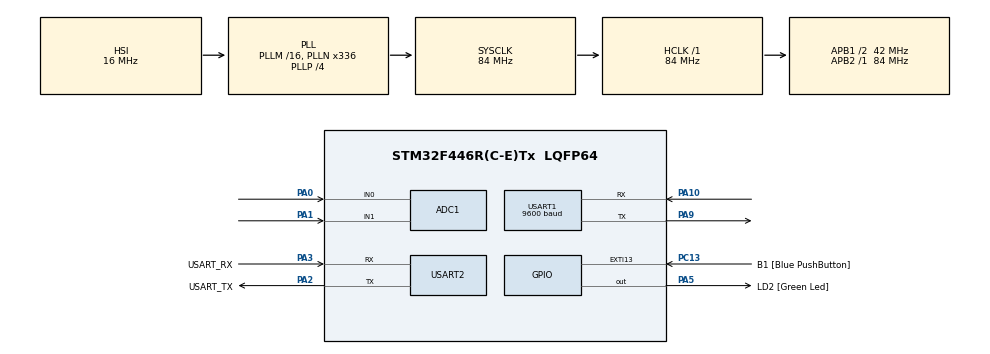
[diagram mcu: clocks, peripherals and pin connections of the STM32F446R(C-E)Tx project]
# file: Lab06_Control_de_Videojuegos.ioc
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ADC1.Channel-0\#ChannelRegularConversion=ADC_CHANNEL_0
ADC1.Channel-1\#ChannelRegularConversion=ADC_CHANNEL_1
ADC1.ClockPrescaler=ADC_CLOCK_SYNC_PCLK_DIV8
ADC1.DataAlign=ADC_DATAALIGN_RIGHT
ADC1.EOCSelection=ADC_EOC_SEQ_CONV
ADC1.NbrOfConversion=2
ADC1.NbrOfConversionFlag=1
ADC1.Rank-0\#ChannelRegularConversion=1
ADC1.Rank-1\#ChannelRegularConversion=2
ADC1.SamplingTime-0\#ChannelRegularConversion=ADC_SAMPLETIME_56CYCLES
ADC1.SamplingTime-1\#ChannelRegularConversion=ADC_SAMPLETIME_56CYCLES
ADC1.master=1
Dma.ADC1.0.Direction=DMA_PERIPH_TO_MEMORY
Dma.ADC1.0.FIFOMode=DMA_FIFOMODE_DISABLE
Dma.ADC1.0.Instance=DMA2_Stream0
Dma.ADC1.0.MemDataAlignment=DMA_MDATAALIGN_HALFWORD
Dma.ADC1.0.MemInc=DMA_MINC_ENABLE
Dma.ADC1.0.Mode=DMA_NORMAL
Dma.ADC1.0.PeriphDataAlignment=DMA_PDATAALIGN_HALFWORD
Dma.ADC1.0.PeriphInc=DMA_PINC_DISABLE
Dma.ADC1.0.Priority=DMA_PRIORITY_LOW
Dma.Request0=ADC1
Mcu.Family=STM32F4
Mcu.Name=STM32F446R(C-E)Tx
Mcu.Package=LQFP64
NVIC.DMA2_Stream0_IRQn=true\:0\:0\:false\:false\:true\:false\:true\:true
NVIC.PriorityGroup=NVIC_PRIORITYGROUP_0
NVIC.TIM6_DAC_IRQn=true\:0\:0\:false\:false\:true\:true\:true\:true
NVIC.USART1_IRQn=true\:0\:0\:false\:false\:true\:true\:true\:true
NVIC.USART2_IRQn=true\:0\:0\:false\:false\:true\:true\:true\:true
PA0-WKUP.Signal=ADCx_IN0
PA1.Signal=ADCx_IN1
PA10.Mode=Asynchronous
PA10.Signal=USART1_RX
PA13.GPIO_Label=TMS
PA13.Mode=Serial_Wire
PA13.Signal=SYS_JTMS-SWDIO
PA14.GPIO_Label=TCK
PA14.Mode=Serial_Wire
PA14.Signal=SYS_JTCK-SWCLK
PA2.GPIO_Label=USART_TX
PA2.Mode=Asynchronous
PA2.Signal=USART2_TX
PA3.GPIO_Label=USART_RX
PA3.Mode=Asynchronous
PA3.Signal=USART2_RX
PA5.GPIO_Label=LD2 [Green Led]
PA5.Signal=GPIO_Output
PA9.Mode=Asynchronous
PA9.Signal=USART1_TX
PB3.GPIO_Label=SWO
PB3.Signal=SYS_JTDO-SWO
PC13.GPIO_Label=B1 [Blue PushButton]
PC13.GPIO_ModeDefaultEXTI=GPIO_MODE_IT_FALLING
PC13.Signal=GPXTI13
PC14-OSC32_IN.Mode=LSE-External-Oscillator
PC14-OSC32_IN.Signal=RCC_OSC32_IN
PC15-OSC32_OUT.Mode=LSE-External-Oscillator
PC15-OSC32_OUT.Signal=RCC_OSC32_OUT
PH0-OSC_IN.Mode=HSE-External-Oscillator
PH0-OSC_IN.Signal=RCC_OSC_IN
PH1-OSC_OUT.Mode=HSE-External-Oscillator
PH1-OSC_OUT.Signal=RCC_OSC_OUT
ProjectManager.HeapSize=0x200
ProjectManager.StackSize=0x400
ProjectManager.TargetToolchain=STM32CubeIDE
RCC.48MHZClocksFreq_Value=84000000
RCC.AHBFreq_Value=84000000
RCC.APB1CLKDivider=RCC_HCLK_DIV2
RCC.APB1Freq_Value=42000000
RCC.APB1TimFreq_Value=84000000
RCC.APB2Freq_Value=84000000
RCC.APB2TimCLKDivider=1
RCC.APB2TimFreq_Value=84000000
RCC.CortexFreq_Value=84000000
RCC.FLatency-AdvancedSettings=FLASH_LATENCY_2
RCC.HCLKFreq_Value=84000000
RCC.HSE_VALUE=8000000
RCC.HSI_VALUE=16000000
RCC.PLLN=336
RCC.PLLP=RCC_PLLP_DIV4
RCC.SYSCLKFreq_VALUE=84000000
RCC.SYSCLKSource=RCC_SYSCLKSOURCE_PLLCLK
RCC.USBFreq_Value=168000000
RCC.VCOOutputFreq_Value=336000000
SH.ADCx_IN0.0=ADC1_IN0,IN0
SH.ADCx_IN1.0=ADC1_IN1,IN1
TIM6.AutoReloadPreload=TIM_AUTORELOAD_PRELOAD_ENABLE
TIM6.Period=250-1
TIM6.Prescaler=48000-1
TIM6.TIM_MasterOutputTrigger=TIM_TRGO_UPDATE
USART1.BaudRate=9600
USART1.VirtualMode=VM_ASYNC
USART2.VirtualMode=VM_ASYNC
VP_TIM6_VS_ClockSourceINT.Mode=Enable_Timer
board=NUCLEO-F446RE

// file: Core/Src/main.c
/* USER CODE BEGIN Header */
/**
  ******************************************************************************
  * @file           : main.c
  * @brief          : Main program body
  ******************************************************************************
  * @attention
  *
  * Copyright (c) 2026 STMicroelectronics.
  * All rights reserved.
  *
  * This software is licensed under terms that can be found in the LICENSE file
  * in the root directory of this software component.
  * If no LICENSE file comes with this software, it is provided AS-IS.
  *
  ******************************************************************************
  */
/* USER CODE END Header */
#include "main.h"

/* USER CODE BEGIN Includes */
#include <stdio.h>
#include <string.h>
/* USER CODE END Includes */

ADC_HandleTypeDef hadc1;
DMA_HandleTypeDef hdma_adc1;

TIM_HandleTypeDef htim6;

UART_HandleTypeDef huart1;
UART_HandleTypeDef huart2;

/* USER CODE BEGIN PV */
volatile uint8_t contador = 0;

uint16_t ADCValor[2];
uint8_t estadoADC = 0;
uint8_t datoArray[20];
char arriba[] = "Arriba\r\n";
char abajo[] = "Abajo\r\n";
char derecha[] = "Derecha\r\n";
char izquierda[] = "Izquierda\r\n";

volatile uint8_t ctrl_cmd;
volatile uint8_t rx_data;
volatile uint8_t rx_flag = 0;

/* USER CODE END PV */

void SystemClock_Config(void);
static void MX_GPIO_Init(void);
static void MX_DMA_Init(void);
static void MX_USART2_UART_Init(void);
static void MX_ADC1_Init(void);
static void MX_USART1_UART_Init(void);
static void MX_TIM6_Init(void);
/* USER CODE BEGIN PFP */
void HAL_ADC_ConvCpltCallback(ADC_HandleTypeDef *hadc);
/* USER CODE END PFP */

int main(void)
{

  /* MCU Configuration--------------------------------------------------------*/

  /* Reset of all peripherals, Initializes the Flash interface and the Systick. */
  HAL_Init();

  /* Configure the system clock */
  SystemClock_Config();

  /* Initialize all configured peripherals */
  MX_GPIO_Init();
  MX_DMA_Init();
  MX_USART2_UART_Init();
  MX_ADC1_Init();
  MX_USART1_UART_Init();
  MX_TIM6_Init();
  /* USER CODE BEGIN 2 */
  HAL_ADC_Start_DMA(&hadc1, (uint32_t *)ADCValor, 2);
  HAL_UART_Receive_IT(&huart1, &rx_data, 1);
  HAL_TIM_Base_Start_IT(&htim6);
  /* USER CODE END 2 */

  /* Infinite loop */
  while (1)
  {

    /* USER CODE BEGIN 3 */
	  // contador++;
	  //HAL_Delay(500);
	  if(estadoADC)
	  {
		  HAL_ADC_Start_DMA(&hadc1, (uint32_t *)ADCValor, 2);
		  estadoADC = 0;
	  }

	  if (contador == 1)
	  {
		  contador = 0;

		  if(ADCValor[0] >= 2500)
		  {
			  HAL_UART_Transmit(&huart2, (uint8_t*)"Control 1: ", 11, 1000);
			  HAL_UART_Transmit(&huart2, (uint8_t*)arriba, strlen(arriba), 1000);
		  }
		  else if(ADCValor[0] <= 1500)
		  {
			  HAL_UART_Transmit(&huart2, (uint8_t*)"Control 1: ", 11, 1000);
			  HAL_UART_Transmit(&huart2, (uint8_t*)abajo, strlen(abajo), 1000);
		  }

		  if(ADCValor[1] >= 2500)
		  {
			  HAL_UART_Transmit(&huart2, (uint8_t*)"Control 1: ", 11, 1000);
			  HAL_UART_Transmit(&huart2, (uint8_t*)derecha, strlen(derecha), 1000);
		  }
		  else if(ADCValor[1] <= 1500)
		  {
			  HAL_UART_Transmit(&huart2, (uint8_t*)"Control 1: ", 11, 1000);
			  HAL_UART_Transmit(&huart2, (uint8_t*)izquierda, strlen(izquierda), 1000);
		  }
	  }

	  if (rx_flag)
      {
          rx_flag = 0;
          HAL_UART_Transmit(&huart2, (uint8_t*)"Control 2: ", 11, 1000);

          switch(ctrl_cmd)
          {
              case '1':
              HAL_UART_Transmit(&huart2, (uint8_t*)"Arriba\r\n", 8, 1000);
              break;

              case '2':
              HAL_UART_Transmit(&huart2, (uint8_t*)"Abajo\r\n", 7, 1000);
              break;

              case '3':
              HAL_UART_Transmit(&huart2, (uint8_t*)"Izquierda\r\n", 11, 1000);
              break;

              case '4':
              HAL_UART_Transmit(&huart2, (uint8_t*)"Derecha\r\n", 9, 1000);
              break;

              case 'A':
              HAL_UART_Transmit(&huart2, (uint8_t*)"A\r\n", 3, 1000);
              break;

              case 'B':
              HAL_UART_Transmit(&huart2, (uint8_t*)"B\r\n", 3, 1000);
              break;
	          }
	      }
  }
  /* USER CODE END 3 */
}

void SystemClock_Config(void)
{
  RCC_OscInitTypeDef RCC_OscInitStruct = {0};
  RCC_ClkInitTypeDef RCC_ClkInitStruct = {0};

  /** Configure the main internal regulator output voltage
  */
  __HAL_RCC_PWR_CLK_ENABLE();
  __HAL_PWR_VOLTAGESCALING_CONFIG(PWR_REGULATOR_VOLTAGE_SCALE3);

  /** Initializes the RCC Oscillators according to the specified parameters
  * in the RCC_OscInitTypeDef structure.
  */
  RCC_OscInitStruct.OscillatorType = RCC_OSCILLATORTYPE_HSI;
  RCC_OscInitStruct.HSIState = RCC_HSI_ON;
  RCC_OscInitStruct.HSICalibrationValue = RCC_HSICALIBRATION_DEFAULT;
  RCC_OscInitStruct.PLL.PLLState = RCC_PLL_ON;
  RCC_OscInitStruct.PLL.PLLSource = RCC_PLLSOURCE_HSI;
  RCC_OscInitStruct.PLL.PLLM = 16;
  RCC_OscInitStruct.PLL.PLLN = 336;
  RCC_OscInitStruct.PLL.PLLP = RCC_PLLP_DIV4;
  RCC_OscInitStruct.PLL.PLLQ = 2;
  RCC_OscInitStruct.PLL.PLLR = 2;
  if (HAL_RCC_OscConfig(&RCC_OscInitStruct) != HAL_OK)
  {
    Error_Handler();
  }

  /** Initializes the CPU, AHB and APB buses clocks
  */
  RCC_ClkInitStruct.ClockType = RCC_CLOCKTYPE_HCLK|RCC_CLOCKTYPE_SYSCLK
                              |RCC_CLOCKTYPE_PCLK1|RCC_CLOCKTYPE_PCLK2;
  RCC_ClkInitStruct.SYSCLKSource = RCC_SYSCLKSOURCE_PLLCLK;
  RCC_ClkInitStruct.AHBCLKDivider = RCC_SYSCLK_DIV1;
  RCC_ClkInitStruct.APB1CLKDivider = RCC_HCLK_DIV2;
  RCC_ClkInitStruct.APB2CLKDivider = RCC_HCLK_DIV1;

  if (HAL_RCC_ClockConfig(&RCC_ClkInitStruct, FLASH_LATENCY_2) != HAL_OK)
  {
    Error_Handler();
  }
}

static void MX_ADC1_Init(void)
{

  ADC_ChannelConfTypeDef sConfig = {0};

  /** Configure the global features of the ADC (Clock, Resolution, Data Alignment and number of conversion)
  */
  hadc1.Instance = ADC1;
  hadc1.Init.ClockPrescaler = ADC_CLOCK_SYNC_PCLK_DIV8;
  hadc1.Init.Resolution = ADC_RESOLUTION_12B;
  hadc1.Init.ScanConvMode = ENABLE;
  hadc1.Init.ContinuousConvMode = DISABLE;
  hadc1.Init.DiscontinuousConvMode = DISABLE;
  hadc1.Init.ExternalTrigConvEdge = ADC_EXTERNALTRIGCONVEDGE_NONE;
  hadc1.Init.ExternalTrigConv = ADC_SOFTWARE_START;
  hadc1.Init.DataAlign = ADC_DATAALIGN_RIGHT;
  hadc1.Init.NbrOfConversion = 2;
  hadc1.Init.DMAContinuousRequests = DISABLE;
  hadc1.Init.EOCSelection = ADC_EOC_SEQ_CONV;
  if (HAL_ADC_Init(&hadc1) != HAL_OK)
  {
    Error_Handler();
  }

  /** Configure for the selected ADC regular channel its corresponding rank in the sequencer and its sample time.
  */
  sConfig.Channel = ADC_CHANNEL_0;
  sConfig.Rank = 1;
  sConfig.SamplingTime = ADC_SAMPLETIME_56CYCLES;
  if (HAL_ADC_ConfigChannel(&hadc1, &sConfig) != HAL_OK)
  {
    Error_Handler();
  }

  /** Configure for the selected ADC regular channel its corresponding rank in the sequencer and its sample time.
  */
  sConfig.Channel = ADC_CHANNEL_1;
  sConfig.Rank = 2;
  if (HAL_ADC_ConfigChannel(&hadc1, &sConfig) != HAL_OK)
  {
    Error_Handler();
  }

}

static void MX_TIM6_Init(void)
{

  TIM_MasterConfigTypeDef sMasterConfig = {0};

  htim6.Instance = TIM6;
  htim6.Init.Prescaler = 48000-1;
  htim6.Init.CounterMode = TIM_COUNTERMODE_UP;
  htim6.Init.Period = 250-1;
  htim6.Init.AutoReloadPreload = TIM_AUTORELOAD_PRELOAD_ENABLE;
  if (HAL_TIM_Base_Init(&htim6) != HAL_OK)
  {
    Error_Handler();
  }
  sMasterConfig.MasterOutputTrigger = TIM_TRGO_UPDATE;
  sMasterConfig.MasterSlaveMode = TIM_MASTERSLAVEMODE_DISABLE;
  if (HAL_TIMEx_MasterConfigSynchronization(&htim6, &sMasterConfig) != HAL_OK)
  {
    Error_Handler();
  }

}

static void MX_USART1_UART_Init(void)
{

  huart1.Instance = USART1;
  huart1.Init.BaudRate = 9600;
  huart1.Init.WordLength = UART_WORDLENGTH_8B;
  huart1.Init.StopBits = UART_STOPBITS_1;
  huart1.Init.Parity = UART_PARITY_NONE;
  huart1.Init.Mode = UART_MODE_TX_RX;
  huart1.Init.HwFlowCtl = UART_HWCONTROL_NONE;
  huart1.Init.OverSampling = UART_OVERSAMPLING_16;
  if (HAL_UART_Init(&huart1) != HAL_OK)
  {
    Error_Handler();
  }

}

static void MX_USART2_UART_Init(void)
{

  huart2.Instance = USART2;
  huart2.Init.BaudRate = 115200;
  huart2.Init.WordLength = UART_WORDLENGTH_8B;
  huart2.Init.StopBits = UART_STOPBITS_1;
  huart2.Init.Parity = UART_PARITY_NONE;
  huart2.Init.Mode = UART_MODE_TX_RX;
  huart2.Init.HwFlowCtl = UART_HWCONTROL_NONE;
  huart2.Init.OverSampling = UART_OVERSAMPLING_16;
  if (HAL_UART_Init(&huart2) != HAL_OK)
  {
    Error_Handler();
  }

}

static void MX_DMA_Init(void)
{

  /* DMA controller clock enable */
  __HAL_RCC_DMA2_CLK_ENABLE();

  /* DMA interrupt init */
  /* DMA2_Stream0_IRQn interrupt configuration */
  HAL_NVIC_SetPriority(DMA2_Stream0_IRQn, 0, 0);
  HAL_NVIC_EnableIRQ(DMA2_Stream0_IRQn);

}

static void MX_GPIO_Init(void)
{
  GPIO_InitTypeDef GPIO_InitStruct = {0};

  /* GPIO Ports Clock Enable */
  __HAL_RCC_GPIOC_CLK_ENABLE();
  __HAL_RCC_GPIOH_CLK_ENABLE();
  __HAL_RCC_GPIOA_CLK_ENABLE();
  __HAL_RCC_GPIOB_CLK_ENABLE();

  /*Configure GPIO pin Output Level */
  HAL_GPIO_WritePin(LD2_GPIO_Port, LD2_Pin, GPIO_PIN_RESET);

  /*Configure GPIO pin : B1_Pin */
  GPIO_InitStruct.Pin = B1_Pin;
  GPIO_InitStruct.Mode = GPIO_MODE_IT_FALLING;
  GPIO_InitStruct.Pull = GPIO_NOPULL;
  HAL_GPIO_Init(B1_GPIO_Port, &GPIO_InitStruct);

  /*Configure GPIO pin : LD2_Pin */
  GPIO_InitStruct.Pin = LD2_Pin;
  GPIO_InitStruct.Mode = GPIO_MODE_OUTPUT_PP;
  GPIO_InitStruct.Pull = GPIO_NOPULL;
  GPIO_InitStruct.Speed = GPIO_SPEED_FREQ_LOW;
  HAL_GPIO_Init(LD2_GPIO_Port, &GPIO_InitStruct);

}

/* USER CODE BEGIN 4 */
void HAL_ADC_ConvCpltCallback(ADC_HandleTypeDef *hadc)
{
	estadoADC = 1;
}

void HAL_UART_RxCpltCallback(UART_HandleTypeDef *huart)
{
    if (huart->Instance == USART1)
    {
    	ctrl_cmd = rx_data;
        rx_flag = 1;

        //HAL_UART_Transmit(&huart2, &rx_data, 1, 100);

        HAL_UART_Receive_IT(&huart1, &rx_data, 1);
    }
}

void HAL_TIM_PeriodElapsedCallback(TIM_HandleTypeDef *htim)
{
	if(htim == &htim6)
	{
		contador = 1;
		HAL_TIM_Base_Start_IT(&htim6);
	}
}
/* USER CODE END 4 */

void Error_Handler(void)
{
  __disable_irq();
  while (1)
  {
  }
}
